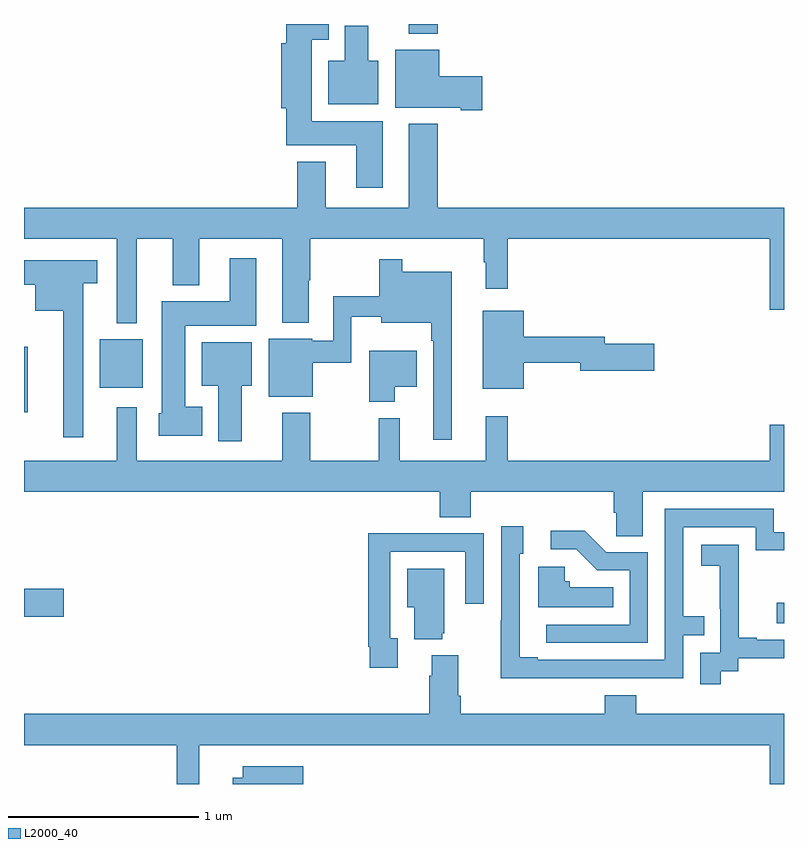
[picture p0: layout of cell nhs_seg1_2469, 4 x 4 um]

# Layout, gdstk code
import gdstk
lib = gdstk.Library(unit=1e-6, precision=1e-09)
def R(c, l, rs):  # rectangles x0, y0, x1, y1
    for r in rs: c.add(gdstk.rectangle(r[:2], r[2:], *l))
def P(c, l, *ps):  # polygons
    for p in ps: c.add(gdstk.Polygon(p, *l))
L2000_40 = (2000, 40)

nhs_seg1_2469 = lib.new_cell('nhs_seg1_2469')
R(nhs_seg1_2469, L2000_40, [(248.961,547.044,249,547.153), (245,547.079,245.209,547.226), (245,548.156,245.02,548.5), (245.399,548.285,245.626,548.539), (247.025,550.148,247.178,550.199)])
P(nhs_seg1_2469, L2000_40, [(246.889,549.688),(246.514,549.688),(246.514,550.115),(246.604,550.115),(246.604,550.199),(246.38,550.199),(246.38,550.099),(246.353,550.099),(246.353,549.755),(246.38,549.755),(246.38,549.56),(246.749,549.56),(246.749,549.336),(246.889,549.336)],
  [(246.865,550.006),(246.811,550.006),(246.811,550.189),(246.689,550.189),(246.689,550.006),(246.602,550.006),(246.602,549.776),(246.865,549.776)],
  [(247.411,549.924),(247.186,549.924),(247.186,550.063),(246.953,550.063),(246.953,549.758),(247.298,549.758),(247.298,549.746),(247.411,549.746)],
  [(247.178,549.673),(247.025,549.673),(247.025,549.232),(246.589,549.232),(246.589,549.475),(246.437,549.475),(246.437,549.232),(245,549.232),(245,549.068),(245.489,549.068),(245.489,548.624),(245.593,548.624),(245.593,549.068),(245.783,549.068),(245.783,548.825),(245.923,548.825),(245.923,549.068),(246.359,549.068),(246.359,548.627),(246.499,548.627),(246.499,548.851),(246.507,548.851),(246.507,549.068),(247.419,549.068),(247.419,548.945),(247.43,548.945),(247.43,548.805),(247.547,548.805),(247.547,549.068),(248.924,549.068),(248.924,548.694),(249,548.694),(249,549.232),(247.178,549.232)],
  [(245.938,548.185),(245.848,548.185),(245.848,548.612),(246.223,548.612),(246.223,548.965),(246.083,548.965),(246.083,548.74),(245.726,548.74),(245.726,548.151),(245.708,548.151),(245.708,548.033),(245.938,548.033)],
  [(247.252,548.896),(246.991,548.896),(246.991,548.962),(246.87,548.962),(246.87,548.767),(246.627,548.767),(246.627,548.532),(246.516,548.532),(246.516,548.542),(246.287,548.542),(246.287,548.237),(246.52,548.237),(246.52,548.416),(246.723,548.416),(246.723,548.657),(246.881,548.657),(246.881,548.627),(247.143,548.627),(247.143,548.531),(247.155,548.531),(247.155,548.01),(247.252,548.01)],
  [(245.311,548.834),(245.386,548.834),(245.386,548.956),(245,548.956),(245,548.827),(245.06,548.827),(245.06,548.69),(245.207,548.69),(245.207,548.025),(245.311,548.025)],
  [(247.63,548.416),(247.928,548.416),(247.928,548.374),(248.317,548.374),(248.317,548.516),(248.056,548.516),(248.056,548.552),(247.63,548.552),(247.63,548.689),(247.415,548.689),(247.415,548.279),(247.63,548.279)],
  [(246.145,548.294),(246.199,548.294),(246.199,548.524),(245.936,548.524),(245.936,548.294),(246.023,548.294),(246.023,548.004),(246.145,548.004)],
  [(246.952,548.291),(247.066,548.291),(247.066,548.479),(246.818,548.479),(246.818,548.21),(246.952,548.21)],
  [(248.257,547.736),(249,547.736),(249,548.089),(248.924,548.089),(248.924,547.9),(247.547,547.9),(247.547,548.134),(247.43,548.134),(247.43,547.9),(246.977,547.9),(246.977,548.125),(246.867,548.125),(246.867,547.9),(246.507,547.9),(246.507,548.152),(246.359,548.152),(246.359,547.9),(245.593,547.9),(245.593,548.182),(245.489,548.182),(245.489,547.9),(245,547.9),(245,547.736),(247.187,547.736),(247.187,547.603),(247.352,547.603),(247.352,547.736),(248.105,547.736),(248.105,547.627),(248.118,547.627),(248.118,547.504),(248.257,547.504)],
  [(247.973,546.756),(248.469,546.756),(248.469,546.981),(248.579,546.981),(248.579,547.082),(248.469,547.082),(248.469,547.551),(248.85,547.551),(248.85,547.428),(249,547.428),(249,547.524),(248.947,547.524),(248.947,547.647),(248.373,547.647),(248.373,546.852),(247.705,546.852),(247.705,546.865),(247.608,546.865),(247.608,547.41),(247.627,547.41),(247.627,547.555),(247.512,547.555),(247.512,547.061),(247.51,547.061),(247.51,546.755),(247.973,546.755)],
  [(248.283,547.419),(248.064,547.419),(247.951,547.532),(247.773,547.532),(247.773,547.434),(247.907,547.434),(248.018,547.323),(248.187,547.323),(248.187,547.038),(247.749,547.038),(247.749,546.942),(248.283,546.942)],
  [(246.967,546.966),(246.927,546.966),(246.927,547.422),(247.323,547.422),(247.323,547.149),(247.419,547.149),(247.419,547.518),(247.103,547.518),(247.103,547.52),(246.811,547.52),(246.811,546.922),(246.819,546.922),(246.819,546.81),(246.967,546.81)],
  [(248.668,546.793),(248.76,546.793),(248.76,546.861),(249,546.861),(249,546.957),(248.857,546.957),(248.857,546.97),(248.762,546.97),(248.762,547.253),(248.763,547.253),(248.763,547.459),(248.565,547.459),(248.565,547.349),(248.663,547.349),(248.663,547.121),(248.664,547.121),(248.664,546.891),(248.559,546.891),(248.559,546.723),(248.668,546.723)],
  [(248.102,547.234),(247.872,547.234),(247.872,547.266),(247.845,547.266),(247.845,547.342),(247.706,547.342),(247.706,547.13),(248.102,547.13)],
  [(247.202,546.993),(247.213,546.993),(247.213,547.333),(247.016,547.333),(247.016,547.13),(247.055,547.13),(247.055,546.962),(247.202,546.962)],
  [(245.922,546.404),(248.924,546.404),(248.924,546.199),(249,546.199),(249,546.568),(248.222,546.568),(248.222,546.667),(248.057,546.667),(248.057,546.568),(247.298,546.568),(247.298,546.664),(247.285,546.664),(247.285,546.877),(247.145,546.877),(247.145,546.77),(247.133,546.77),(247.133,546.568),(245,546.568),(245,546.404),(245.803,546.404),(245.803,546.199),(245.922,546.199)],
  [(246.469,546.292),(246.152,546.292),(246.152,546.232),(246.098,546.232),(246.098,546.199),(246.469,546.199)])

lib.write_gds('nhs_seg1_2469.gds')
